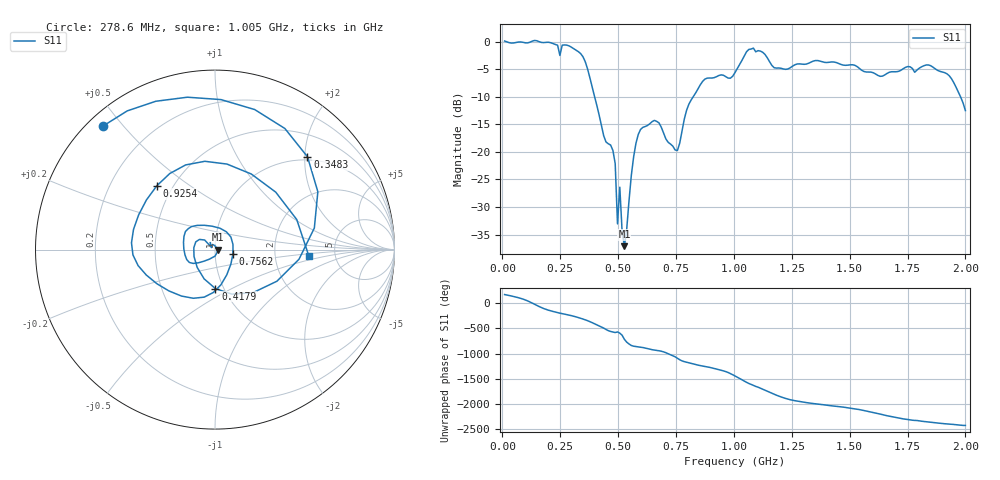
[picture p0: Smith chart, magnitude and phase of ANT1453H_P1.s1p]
!Created with skrf (http://scikit-rf.org).
# Hz S RI R 50.0
!freq ReS11 ImS11
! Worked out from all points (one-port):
!   201 points, 10 MHz to 2 GHz, reference 50 ohm
!   lowest |S11| = -37.1 dB at 527.4 MHz (marker M1), VSWR 1.03, Z = 51.4 + j0.0359 ohm
!   |S11| at or under -10 dB: 398.7 MHz to 824.7 MHz (425.9 MHz wide, 69.6 % of centre); 1.979 GHz to end of sweep
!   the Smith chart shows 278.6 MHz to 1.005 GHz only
!   S11 on the Smith chart (normalised r, x): 278.6 MHz: 0.04, +0.44; 348.3 MHz: 0.93, +2.06; 417.9 MHz: 0.91, -0.42; 756.2 MHz: 1.22, -0.05; 925.4 MHz: 0.41, +0.38; 1.005 GHz: 3.17, -0.31
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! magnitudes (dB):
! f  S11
! 10 MHz  0.1
! 209 MHz  -0.2
! 248.8 MHz  -2.5
! 258.8 MHz  -0.6
! 278.6 MHz  -0.6
! 348.3 MHz  -2.7
! 417.9 MHz  -13.3
! 487.6 MHz  -22.1
! 497.6 MHz  -33.0
! 507.5 MHz  -26.4
! 517.5 MHz  -34.4
! 527.4 MHz  -37.1
! 567.2 MHz  -20.9
! 597 MHz  -15.9
! 666.7 MHz  -14.5
! 756.2 MHz  -19.8
! 806 MHz  -11.3
! 865.7 MHz  -7.2
! 925.4 MHz  -6.4
! 1.005 GHz  -5.6
! 1.085 GHz  -1.2
! 1.174 GHz  -4.7
! 1.254 GHz  -4.4
! 1.502 GHz  -4.2
! 1.632 GHz  -6.3
! 1.751 GHz  -4.5
! 1.92 GHz  -5.8
! 2 GHz  -12.5
